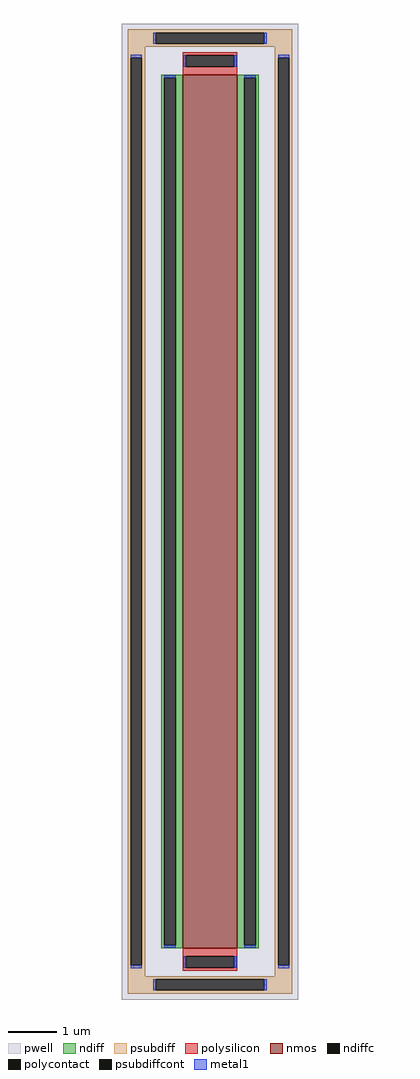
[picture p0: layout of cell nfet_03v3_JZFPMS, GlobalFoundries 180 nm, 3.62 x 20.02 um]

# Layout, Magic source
magic
tech gf180mcuD
magscale 1 10
<< pwell >>
rect -362 -2002 362 2002
<< nmos >>
rect -112 -1792 112 1792
<< ndiff >>
rect -200 1779 -112 1792
rect -200 -1779 -187 1779
rect -141 -1779 -112 1779
rect -200 -1792 -112 -1779
rect 112 1779 200 1792
rect 112 -1779 141 1779
rect 187 -1779 200 1779
rect 112 -1792 200 -1779
<< ndiffc >>
rect -187 -1779 -141 1779
rect 141 -1779 187 1779
<< psubdiff >>
rect -338 1965 338 1978
rect -338 1919 -222 1965
rect 222 1919 338 1965
rect -338 1906 338 1919
rect -338 1862 -266 1906
rect -338 -1862 -325 1862
rect -279 -1862 -266 1862
rect 266 1862 338 1906
rect -338 -1906 -266 -1862
rect 266 -1862 279 1862
rect 325 -1862 338 1862
rect 266 -1906 338 -1862
rect -338 -1919 338 -1906
rect -338 -1965 -222 -1919
rect 222 -1965 338 -1919
rect -338 -1978 338 -1965
<< psubdiffcont >>
rect -222 1919 222 1965
rect -325 -1862 -279 1862
rect 279 -1862 325 1862
rect -222 -1965 222 -1919
<< polysilicon >>
rect -112 1871 112 1884
rect -112 1825 -99 1871
rect 99 1825 112 1871
rect -112 1792 112 1825
rect -112 -1825 112 -1792
rect -112 -1871 -99 -1825
rect 99 -1871 112 -1825
rect -112 -1884 112 -1871
<< polycontact >>
rect -99 1825 99 1871
rect -99 -1871 99 -1825
<< metal1 >>
rect -233 1919 -222 1965
rect 222 1919 233 1965
rect -325 1862 -279 1873
rect -110 1825 -99 1871
rect 99 1825 110 1871
rect 279 1862 325 1873
rect -187 1779 -141 1790
rect -187 -1790 -141 -1779
rect 141 1779 187 1790
rect 141 -1790 187 -1779
rect -325 -1873 -279 -1862
rect -110 -1871 -99 -1825
rect 99 -1871 110 -1825
rect 279 -1873 325 -1862
rect -233 -1965 -222 -1919
rect 222 -1965 233 -1919
<< properties >>
string FIXED_BBOX -302 -1942 302 1942
string gencell nfet_03v3
string library gf180mcu
string parameters w 17.92 l 1.12 m 1 nf 1 diffcov 100 polycov 100 guard 1 glc 1 grc 1 gtc 1 gbc 1 tbcov 100 rlcov 100 topc 1 botc 1 poverlap 0 doverlap 1 lmin 0.28 wmin 0.22 class mosfet full_metal 0 compatible {nfet_03v3 nfet_05v0 nfet_06v0 nfet_06v0_nvt}
<< end >>
